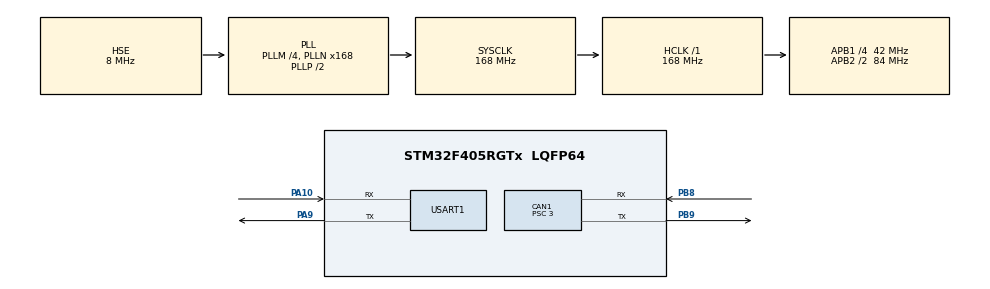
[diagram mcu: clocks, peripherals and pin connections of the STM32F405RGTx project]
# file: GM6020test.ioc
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CAN1.ABOM=ENABLE
CAN1.BS1=CAN_BS1_9TQ
CAN1.BS2=CAN_BS2_4TQ
CAN1.CalculateBaudRate=1000000
CAN1.CalculateTimeBit=1000
CAN1.CalculateTimeQuantum=71.42857142857143
CAN1.NART=ENABLE
CAN1.Prescaler=3
Dma.Request0=USART1_TX
Dma.USART1_TX.0.Direction=DMA_MEMORY_TO_PERIPH
Dma.USART1_TX.0.FIFOMode=DMA_FIFOMODE_DISABLE
Dma.USART1_TX.0.Instance=DMA2_Stream7
Dma.USART1_TX.0.MemDataAlignment=DMA_MDATAALIGN_BYTE
Dma.USART1_TX.0.MemInc=DMA_MINC_ENABLE
Dma.USART1_TX.0.Mode=DMA_NORMAL
Dma.USART1_TX.0.PeriphDataAlignment=DMA_PDATAALIGN_BYTE
Dma.USART1_TX.0.PeriphInc=DMA_PINC_DISABLE
Dma.USART1_TX.0.Priority=DMA_PRIORITY_LOW
Mcu.Family=STM32F4
Mcu.Name=STM32F405RGTx
Mcu.Package=LQFP64
NVIC.CAN1_RX0_IRQn=true\:0\:0\:false\:false\:true\:true\:true\:true
NVIC.CAN1_TX_IRQn=true\:0\:0\:false\:false\:true\:true\:true\:true
NVIC.DMA2_Stream7_IRQn=true\:0\:0\:false\:false\:true\:false\:true\:true
NVIC.PriorityGroup=NVIC_PRIORITYGROUP_4
NVIC.USART1_IRQn=true\:0\:0\:false\:false\:true\:true\:true\:true
PA10.Mode=Asynchronous
PA10.Signal=USART1_RX
PA13.Mode=Serial_Wire
PA13.Signal=SYS_JTMS-SWDIO
PA14.Mode=Serial_Wire
PA14.Signal=SYS_JTCK-SWCLK
PA9.Mode=Asynchronous
PA9.Signal=USART1_TX
PB8.Mode=CAN_Activate
PB8.Signal=CAN1_RX
PB9.Mode=CAN_Activate
PB9.Signal=CAN1_TX
PH0-OSC_IN.Mode=HSE-External-Oscillator
PH0-OSC_IN.Signal=RCC_OSC_IN
PH1-OSC_OUT.Mode=HSE-External-Oscillator
PH1-OSC_OUT.Signal=RCC_OSC_OUT
ProjectManager.HeapSize=0x200
ProjectManager.StackSize=0x400
ProjectManager.TargetToolchain=CMake
RCC.48MHZClocksFreq_Value=84000000
RCC.AHBFreq_Value=168000000
RCC.APB1CLKDivider=RCC_HCLK_DIV4
RCC.APB1Freq_Value=42000000
RCC.APB1TimFreq_Value=84000000
RCC.APB2CLKDivider=RCC_HCLK_DIV2
RCC.APB2Freq_Value=84000000
RCC.APB2TimFreq_Value=168000000
RCC.CortexFreq_Value=168000000
RCC.HCLKFreq_Value=168000000
RCC.HSE_VALUE=8000000
RCC.HSI_VALUE=16000000
RCC.LSE_VALUE=32768
RCC.PLLM=4
RCC.PLLN=168
RCC.PLLSourceVirtual=RCC_PLLSOURCE_HSE
RCC.SYSCLKFreq_VALUE=168000000
RCC.SYSCLKSource=RCC_SYSCLKSOURCE_PLLCLK
RCC.VCOOutputFreq_Value=336000000
USART1.VirtualMode=VM_ASYNC
board=custom

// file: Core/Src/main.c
/* USER CODE BEGIN Header */
/**
  ******************************************************************************
  * @file           : main.c
  * @brief          : Main program body
  ******************************************************************************
  * @attention
  *
  * Copyright (c) 2026 STMicroelectronics.
  * All rights reserved.
  *
  * This software is licensed under terms that can be found in the LICENSE file
  * in the root directory of this software component.
  * If no LICENSE file comes with this software, it is provided AS-IS.
  *
  ******************************************************************************
  */
/* USER CODE END Header */
#include "main.h"
#include "can.h"
#include "dma.h"
#include "usart.h"
#include "gpio.h"

/* USER CODE BEGIN Includes */

#include "stdio.h"
#include "bsp_can.h"
#include "module_pid.h"

/* USER CODE END Includes */

/* USER CODE BEGIN PTD */
#define PRINT_INTERVAL_MS  100   // 打印间隔ms
uint32_t last_print_tick = 0;
/* USER CODE END PTD */

/* USER CODE BEGIN PM */

//电机PID部分
extern moto_info_t motor_info[MOTOR_MAX_NUM];
pid_struct_t motor_speed_pid[MOTOR_MAX_NUM];
pid_struct_t motor_angle_pid[MOTOR_MAX_NUM];
//float target_speed = 200.0f;//目标速度 串级速度不是恒定的
float target_angle = 0.0f;//目标角度

/* USER CODE END PM */

void SystemClock_Config(void);

/* USER CODE BEGIN 0 */
//非阻塞式打印部分
static char printf_buffer[100];//DMA缓冲区
static volatile uint8_t uart_tx_busy = 0;//串口忙标志

void HAL_UART_TxCpltCallback(UART_HandleTypeDef *huart) {
  if (huart->Instance == USART1) {
    uart_tx_busy = 0;
  }
}
/* USER CODE END 0 */

int main(void)
{

  /* MCU Configuration--------------------------------------------------------*/

  /* Reset of all peripherals, Initializes the Flash interface and the Systick. */
  HAL_Init();

  /* Configure the system clock */
  SystemClock_Config();

  /* Initialize all configured peripherals */
  MX_GPIO_Init();
  MX_DMA_Init();
  MX_CAN1_Init();
  MX_USART1_UART_Init();
  /* USER CODE BEGIN 2 */

  can_user_init(&hcan1);                   // config can filter, start can
  //速度环  输出电压 限幅30000
  pid_init(&motor_speed_pid[0], 0, 0, 0, 10000, 30000);
  //位置环 输出目标转速 限幅为200rpm
  pid_init(&motor_angle_pid[0], 0, 0, 0, 0, 200);
  /*源代码给7个电机初始化
   for (uint8_t i = 0; i < 7; i++)
  {
    pid_init(&motor_pid[i], 40, 3, 0, 3000, 16384);
  }*/

  /* USER CODE END 2 */

  /* Infinite loop */
  while (1)
  {

    /* USER CODE BEGIN 3 */
    //当前角度0-8191转换到0-360
    float current_angle = (float)motor_info[0].rotor_angle * 360.0f /8192.0f;
    //外环位置环 输出目标转速
    float target_speed = pid_calc(&motor_angle_pid[0], target_angle, current_angle);
    //内环速度环 输出电压
    motor_info[0].set_voltage = (int16_t)pid_calc(&motor_speed_pid[0], target_speed, (float)motor_info[0].rotor_speed);
    set_motor_voltage(0,motor_info[0].set_voltage,0,0,0);

    /*原demo控制7电机
     for (uint8_t i = 0; i < 1; i++)
    {
      motor_info[i].set_voltage = pid_calc(&motor_pid[i], target_speed, motor_info[i].rotor_speed);
    }
    set_motor_voltage(0,
                      motor_info[0].set_voltage,
                      motor_info[1].set_voltage,
                      motor_info[2].set_voltage,
                      motor_info[3].set_voltage);

    set_motor_voltage(1,
                      motor_info[4].set_voltage,
                      motor_info[5].set_voltage,
                      motor_info[6].set_voltage,
                      0);*/

    //每隔 PRINT_INTERVAL_MS 打印一次速度
    uint32_t now = HAL_GetTick();
    if (now - last_print_tick >= PRINT_INTERVAL_MS)
    {
      last_print_tick = now;

      if(!uart_tx_busy) {
        uart_tx_busy = 1;
        int len = snprintf(printf_buffer, sizeof(printf_buffer),
                                   "target_angle:%.1f actual_angle:%.1f actual_speed:%d\r\n",
                                   target_angle,
                                   current_angle,
                                   (int)motor_info[0].rotor_speed);
        HAL_UART_Transmit_DMA(&huart1, (uint8_t*)printf_buffer, len);
      }
    }

  }
  /* USER CODE END 3 */
}

void SystemClock_Config(void)
{
  RCC_OscInitTypeDef RCC_OscInitStruct = {0};
  RCC_ClkInitTypeDef RCC_ClkInitStruct = {0};

  /** Configure the main internal regulator output voltage
  */
  __HAL_RCC_PWR_CLK_ENABLE();
  __HAL_PWR_VOLTAGESCALING_CONFIG(PWR_REGULATOR_VOLTAGE_SCALE1);

  /** Initializes the RCC Oscillators according to the specified parameters
  * in the RCC_OscInitTypeDef structure.
  */
  RCC_OscInitStruct.OscillatorType = RCC_OSCILLATORTYPE_HSE;
  RCC_OscInitStruct.HSEState = RCC_HSE_ON;
  RCC_OscInitStruct.PLL.PLLState = RCC_PLL_ON;
  RCC_OscInitStruct.PLL.PLLSource = RCC_PLLSOURCE_HSE;
  RCC_OscInitStruct.PLL.PLLM = 4;
  RCC_OscInitStruct.PLL.PLLN = 168;
  RCC_OscInitStruct.PLL.PLLP = RCC_PLLP_DIV2;
  RCC_OscInitStruct.PLL.PLLQ = 4;
  if (HAL_RCC_OscConfig(&RCC_OscInitStruct) != HAL_OK)
  {
    Error_Handler();
  }

  /** Initializes the CPU, AHB and APB buses clocks
  */
  RCC_ClkInitStruct.ClockType = RCC_CLOCKTYPE_HCLK|RCC_CLOCKTYPE_SYSCLK
                              |RCC_CLOCKTYPE_PCLK1|RCC_CLOCKTYPE_PCLK2;
  RCC_ClkInitStruct.SYSCLKSource = RCC_SYSCLKSOURCE_PLLCLK;
  RCC_ClkInitStruct.AHBCLKDivider = RCC_SYSCLK_DIV1;
  RCC_ClkInitStruct.APB1CLKDivider = RCC_HCLK_DIV4;
  RCC_ClkInitStruct.APB2CLKDivider = RCC_HCLK_DIV2;

  if (HAL_RCC_ClockConfig(&RCC_ClkInitStruct, FLASH_LATENCY_5) != HAL_OK)
  {
    Error_Handler();
  }
}

void Error_Handler(void)
{
  __disable_irq();
  while (1)
  {
  }
}
